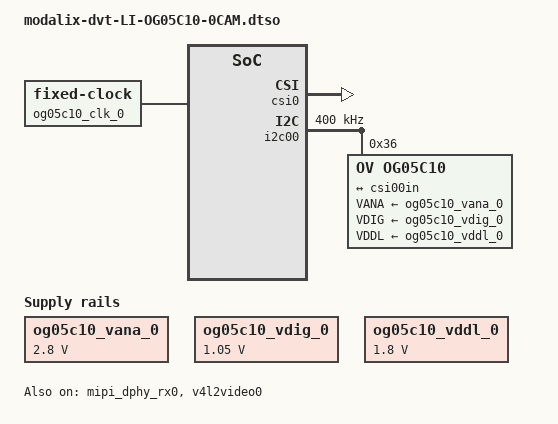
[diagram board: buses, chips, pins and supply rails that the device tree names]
// SPDX-License-Identifier: (GPL-2.0+ OR MIT)
/*
 * Copyright (c) 2026 SiMa ai
 */

/dts-v1/;
/plugin/;

&{/} {
    og05c10_vana_0: csi0_fixedregulator@0 {
        compatible = "regulator-fixed";
        regulator-name = "og05c10_vana_0";
        regulator-min-microvolt = <2800000>;
        regulator-max-microvolt = <2800000>;
        enable-active-high;
        startup-delay-us = <300000>;
        regulator-always-on;
    };
    og05c10_vdig_0: csi0_fixedregulator@1 {
        compatible = "regulator-fixed";
        regulator-name = "og05c10_vdig_0";
        regulator-min-microvolt = <1050000>;
        regulator-max-microvolt = <1050000>;
        regulator-always-on;
    };
    og05c10_vddl_0: csi0_fixedregulator@2 {
        compatible = "regulator-fixed";
        regulator-name = "og05c10_vddl_0";
        regulator-min-microvolt = <1800000>;
        regulator-max-microvolt = <1800000>;
        regulator-always-on;
    };
    og05c10_clk_0: csi0_camera-clk {
        compatible = "fixed-clock";
        #clock-cells = <0>;
        clock-frequency = <24000000>;
    };
};

&csi0 {
    status = "okay";
};

&axi_vdma0 {
    status = "okay";
};

&mipi_dphy_rx0 {
    status = "okay";
};

&v4l2video0 {
    status = "okay";
};

&v4l2vdma0 {
    status = "okay";
};

&csi00in {
    clock-lanes = <0>;
    data-lanes = <1 2>;
    link-frequencies = /bits/ 64 <424000000>;
    remote-endpoint = <&cam00out>;
    clock-continuous;
};

&i2c00 {
    status = "okay";
    clock-frequency = <400000>;
    #address-cells = <1>;
    #size-cells = <0>;

    og05c10: og05c10@36 {
        compatible = "OV,og05c10";
        reg = <0x36>;

        clocks = <&og05c10_clk_0>;
        clock-names = "xclk";

        VANA-supply = <&og05c10_vana_0>;
        VDIG-supply = <&og05c10_vdig_0>;
        VDDL-supply = <&og05c10_vddl_0>;

        port@1 {
            cam00out: endpoint@0 {
                clock-lanes = <0>;
                data-lanes = <1 2>;
                link-frequencies = /bits/ 64 <424000000>;
                remote-endpoint = <&csi00in>;
                clock-continuous;
            };
        };
    };
};
